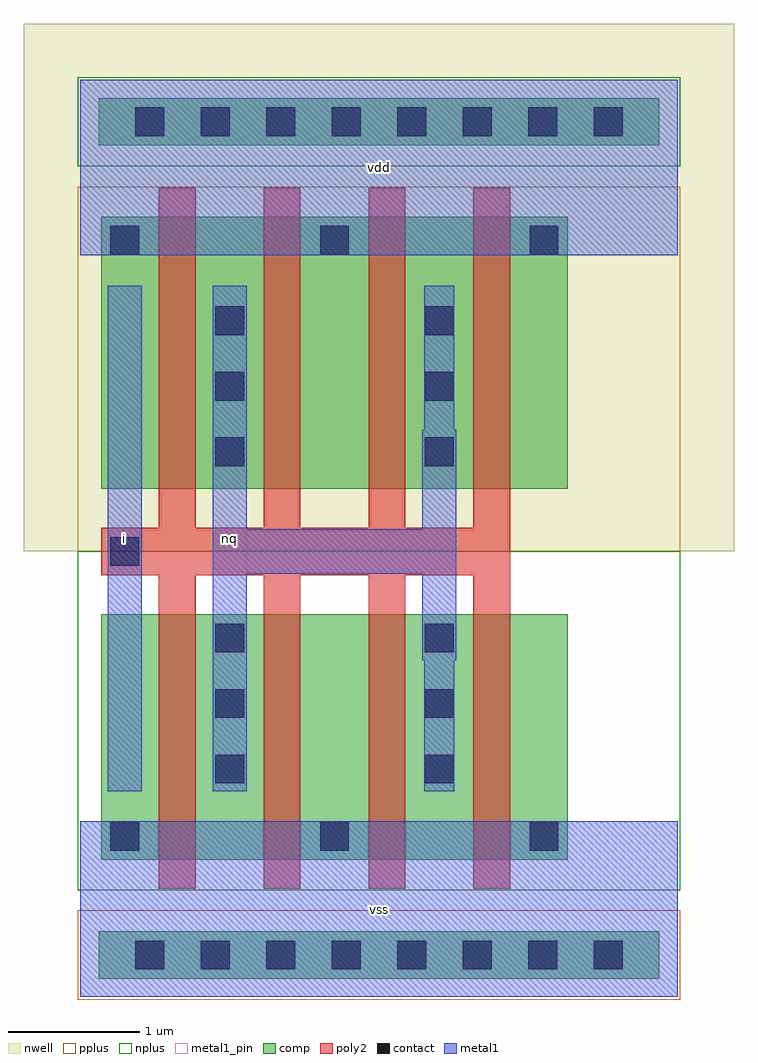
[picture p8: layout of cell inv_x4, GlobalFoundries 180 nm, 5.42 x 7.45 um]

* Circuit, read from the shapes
.subckt inv_x4 i nq vdd vss
XM1 nq i vss vss nfet_03v3 w=1.875u l=0.28u m=4
XM2 nq i vdd vdd pfet_03v3 w=2.075u l=0.28u m=4
.ends

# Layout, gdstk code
import gdstk
lib = gdstk.Library(unit=1e-6, precision=1e-09)
def R(c, l, rs):  # rectangles x0, y0, x1, y1
    for r in rs: c.add(gdstk.rectangle(r[:2], r[2:], *l))
def A(c, l, x, y, w, h, nx, ny, dx, dy):  # array of equal rectangles
    R(c, l, [(x+i*dx, y+j*dy, x+i*dx+w, y+j*dy+h) for i in range(nx) for j in range(ny)])
def P(c, l, *ps):  # polygons
    for p in ps: c.add(gdstk.Polygon(p, *l))
nwell = (21, 0)
comp = (22, 0)
poly2 = (30, 0)
pplus = (31, 0)
nplus = (32, 0)
contact = (33, 0)
metal1 = (34, 0)
metal1_pin = (34, 10)

inv_x4 = lib.new_cell('inv_x4')
R(inv_x4, nwell, [(-0.43,3.4,4.99,7.43)])
R(inv_x4, comp, [(0.14,0.14,4.42,0.5), (0.16,1.045,3.72,2.92), (0.16,3.88,3.72,5.955), (0.14,6.5,4.42,6.86)])
P(inv_x4, poly2, [(0.6,0.825),(0.6,3.22),(0.16,3.22),(0.16,3.58),(0.6,3.58),(0.6,6.175),(0.88,6.175),(0.88,3.58),(1.4,3.58),(1.4,6.175),(1.68,6.175),(1.68,3.58),(2.2,3.58),(2.2,6.175),(2.48,6.175),(2.48,3.58),(3,3.58),(3,6.175),(3.28,6.175),(3.28,0.825),(3,0.825),(3,3.22),(2.48,3.22),(2.48,0.825),(2.2,0.825),(2.2,3.22),(1.68,3.22),(1.68,0.825),(1.4,0.825),(1.4,3.22),(0.88,3.22),(0.88,0.825)])
R(inv_x4, pplus, [(-0.02,-0.02,4.58,0.66), (-0.02,3.4,4.58,6.185)])
R(inv_x4, nplus, [(-0.02,0.815,4.58,3.4), (-0.02,6.34,4.58,7.02)])
A(inv_x4, contact, 0.42, 0.21, 0.22, 0.22, 8, 2, 0.5, 6.36)
A(inv_x4, contact, 0.23, 1.115, 0.22, 0.22, 3, 2, 1.6, 4.55)
A(inv_x4, contact, 1.03, 1.63, 0.22, 0.22, 1, 3, 0, 0.5)
A(inv_x4, contact, 2.63, 1.63, 0.22, 0.22, 1, 3, 0, 0.5)
A(inv_x4, contact, 1.03, 4.05, 0.22, 0.22, 1, 3, 0, 0.5)
A(inv_x4, contact, 2.63, 4.05, 0.22, 0.22, 1, 3, 0, 0.5)
R(inv_x4, contact, [(0.23,3.29,0.45,3.51)])
R(inv_x4, metal1, [(0,0,4.56,1.34), (0.21,1.57,0.47,5.43), (0,5.66,4.56,7)])
P(inv_x4, metal1, [(1.01,1.57),(1.01,5.43),(1.27,5.43),(1.27,3.57),(2.61,3.57),(2.61,4.33),(2.625,4.33),(2.625,5.43),(2.855,5.43),(2.855,4.33),(2.87,4.33),(2.87,2.57),(2.855,2.57),(2.855,1.57),(2.625,1.57),(2.625,2.57),(2.61,2.57),(2.61,3.23),(1.27,3.23),(1.27,1.57)])
R(inv_x4, metal1_pin, [(0,0,4.56,1.34), (0.21,1.57,0.47,5.43), (1.01,1.57,1.27,5.43), (0,5.66,4.56,7)])
inv_x4.add(gdstk.Label('vss', (2.28,0.67), layer=34, texttype=10))
inv_x4.add(gdstk.Label('vdd', (2.28,6.33), layer=34, texttype=10))
inv_x4.add(gdstk.Label('nq', (1.14,3.5), layer=34, texttype=10))
inv_x4.add(gdstk.Label('i', (0.34,3.5), layer=34, texttype=10))

lib.write_gds('inv_x4.gds')
